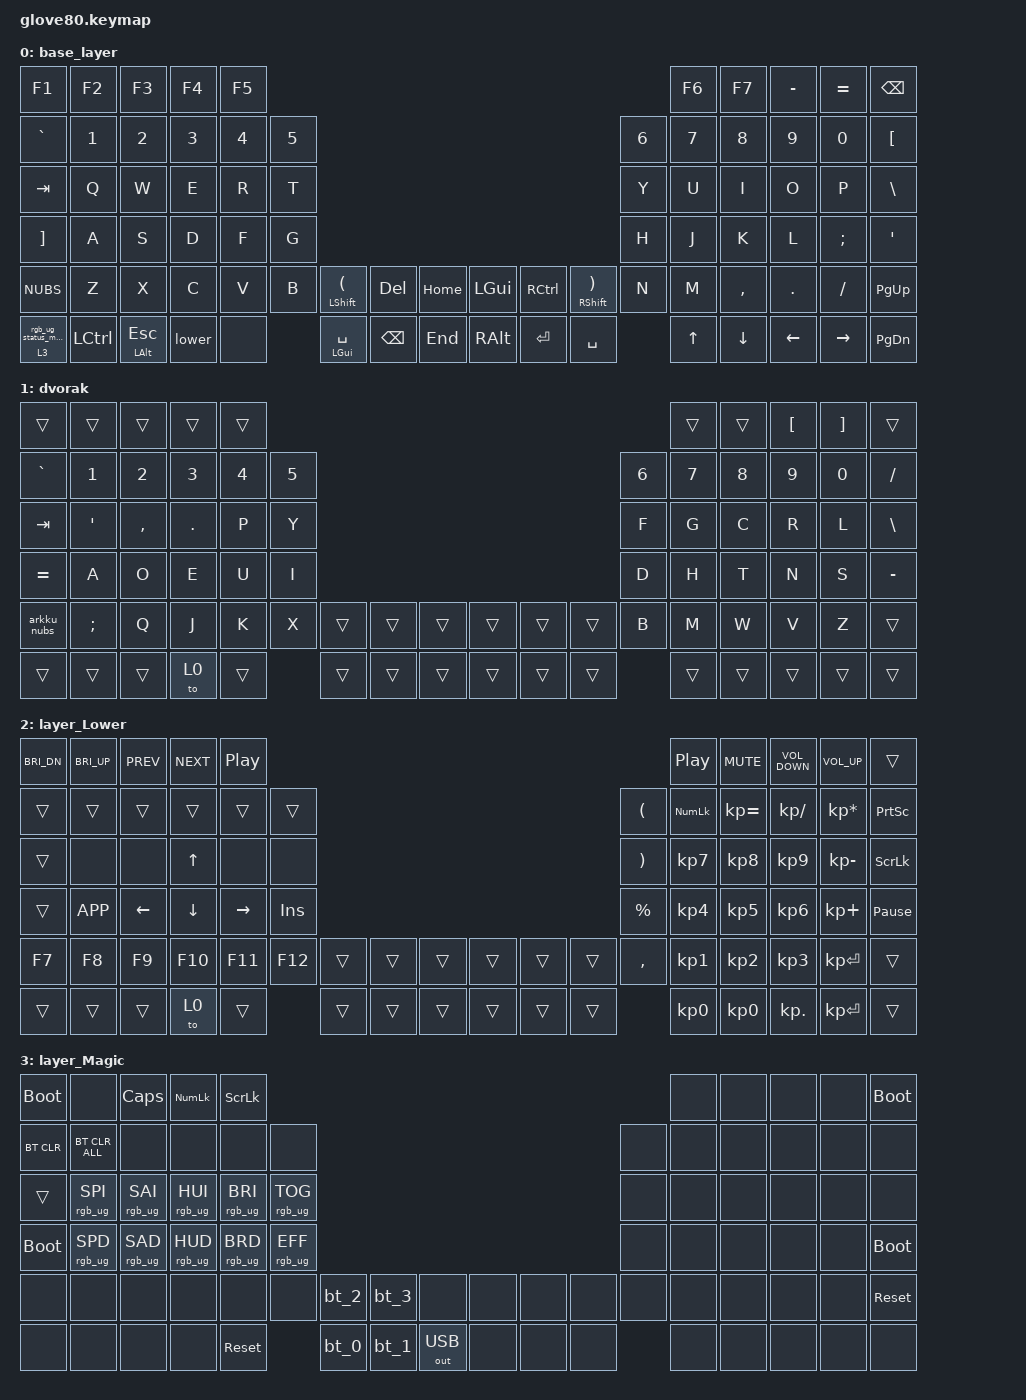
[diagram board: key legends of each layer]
/*
 * Copyright (c) 2020 The ZMK Contributors
 * Copyright (c) 2022 Innaworks Development Limited, trading as MoErgo
 *
 * SPDX-License-Identifier: MIT
 */
/* THIS FILE WAS GENERATED BY GLOVE80 LAYOUT EDITOR
 *
 * This file was generated automatically. You may or may not want to
 * edit it directly.
 */
/* Include all behaviour includes needed by system behaviors/macros */
/* Include behaviour includes needed by key binds - automatically generated */

#include <behaviors.dtsi>
#include <dt-bindings/zmk/bt.h>
#include <dt-bindings/zmk/keys.h>
#include <dt-bindings/zmk/outputs.h>
#include <dt-bindings/zmk/rgb.h>

/ {
    /* Glove80 system behavior & macros */

    behaviors {
        // For the "layer" key, it'd nice to be able to use it as either a shift or a toggle.
        // Configure it as a tap dance, so the first tap (or hold) is a &mo and the second tap is a &to

        lower: tap_dance_0 {
            compatible = "zmk,behavior-tap-dance";
            label = "LAYER_TAP_DANCE";
            #binding-cells = <0>;
            tapping-term-ms = <200>;
            bindings = <&mo 2>, <&to 2>, <&to 1>;
        };

        magic: magic_hold_tap {
            compatible = "zmk,behavior-hold-tap";
            label = "MAGIC_HOLD_TAP";
            #binding-cells = <2>;
            flavor = "tap-preferred";
            tapping-term-ms = <200>;
            bindings = <&mo>, <&rgb_ug_status_macro>;
        };

        arkku_nubs: arkku_nubs {
            compatible = "zmk,behavior-mod-morph";
            #binding-cells = <0>;
            bindings = <&kp RA(Q)>, <&kp RA(P)>; // AltGr+Q for ä, AltGr+P for ö
            mods = <(MOD_LSFT|MOD_RSFT)>; // Triggers the second binding when shift is held
        };
    };

    macros {
        rgb_ug_status_macro: rgb_ug_status_macro_0 {
            label = "RGB_UG_STATUS";
            compatible = "zmk,behavior-macro";
            #binding-cells = <0>;
            bindings = <&rgb_ug RGB_STATUS>;
        };

        bt_0: bt_profile_macro_0 {
            label = "BT_0";
            compatible = "zmk,behavior-macro";
            #binding-cells = <0>;
            bindings = <&out OUT_BLE &bt BT_SEL 0>;
        };

        bt_1: bt_profile_macro_1 {
            label = "BT_1";
            compatible = "zmk,behavior-macro";
            #binding-cells = <0>;
            bindings = <&out OUT_BLE &bt BT_SEL 1>;
        };

        bt_2: bt_profile_macro_2 {
            label = "BT_2";
            compatible = "zmk,behavior-macro";
            #binding-cells = <0>;
            bindings = <&out OUT_BLE &bt BT_SEL 2>;
        };

        bt_3: bt_profile_macro_3 {
            label = "BT_3";
            compatible = "zmk,behavior-macro";
            #binding-cells = <0>;
            bindings = <&out OUT_BLE &bt BT_SEL 3>;
        };
    };

    /* Custom Defined Behaviors */
    /* Automatically generated keymap */

    keymap {
        compatible = "zmk,keymap";

        base_layer {
            bindings = <
&kp F1             &kp F2     &kp F3               &kp F4  &kp F5                                                                                                                                    &kp F6  &kp F7     &kp MINUS       &kp EQUAL        &kp BACKSPACE
&kp GRAVE          &kp N1     &kp N2               &kp N3  &kp N4  &kp N5                                                                                                                    &kp N6  &kp N7  &kp N8     &kp N9          &kp N0           &kp LEFT_BRACKET
&kp TAB            &kp Q      &kp W                &kp E   &kp R   &kp T                                                                                                                     &kp Y   &kp U   &kp I      &kp O           &kp P            &kp BSLH
&kp RIGHT_BRACKET  &kp A      &kp S                &kp D   &kp F   &kp G                                                                                                                     &kp H   &kp J   &kp K      &kp L           &kp SEMI         &kp SQT
&kp NUBS           &kp Z      &kp X                &kp C   &kp V   &kp B   &mt LEFT_SHIFT LEFT_PARENTHESIS  &kp DELETE     &kp HOME  &kp LGUI  &kp RCTRL  &mt RIGHT_SHIFT RIGHT_PARENTHESIS  &kp N   &kp M   &kp COMMA  &kp DOT         &kp FSLH         &kp PG_UP
&magic 3 0         &kp LCTRL  &mt LEFT_ALT ESCAPE  &lower  &none           &mt LGUI SPACE                   &kp BACKSPACE  &kp END   &kp RALT  &kp RET    &kp SPACE                                  &kp UP  &kp DOWN   &kp LEFT_ARROW  &kp RIGHT_ARROW  &kp PG_DN
            >;
        };

        dvorak {
            bindings = <
&trans            &trans    &trans     &trans   &trans                                                                  &trans  &trans  &kp LBKT  &kp RIGHT_BRACKET  &trans
&kp GRAVE         &kp N1    &kp N2     &kp N3   &kp N4  &kp N5                                                  &kp N6  &kp N7  &kp N8  &kp N9    &kp N0             &kp FSLH
&kp TAB           &kp SQT   &kp COMMA  &kp DOT  &kp P   &kp Y                                                   &kp F   &kp G   &kp C   &kp R     &kp L              &kp BSLH
&kp EQUAL         &kp A     &kp O      &kp E    &kp U   &kp I                                                   &kp D   &kp H   &kp T   &kp N     &kp S              &kp MINUS
&arkku_nubs       &kp SEMI  &kp Q      &kp J    &kp K   &kp X   &trans  &trans  &trans  &trans  &trans  &trans  &kp B   &kp M   &kp W   &kp V     &kp Z              &trans
&trans            &trans    &trans     &to 0    &trans          &trans  &trans  &trans  &trans  &trans  &trans          &trans  &trans  &trans    &trans             &trans
            >;
        };

        layer_Lower {
            bindings = <
&kp C_BRI_DN  &kp C_BRI_UP  &kp C_PREV      &kp C_NEXT      &kp C_PP                                                                                         &kp C_PLAY_PAUSE  &kp C_MUTE    &kp C_VOLUME_DOWN  &kp C_VOLUME_UP  &trans
&trans        &trans        &trans          &trans          &trans           &trans                                                   &kp LEFT_PARENTHESIS   &kp KP_NUM        &kp KP_EQUAL  &kp KP_SLASH       &kp KP_MULTIPLY  &kp PRINTSCREEN
&trans        &none         &none           &kp UP_ARROW    &none            &none                                                    &kp RIGHT_PARENTHESIS  &kp KP_N7         &kp KP_N8     &kp KP_N9          &kp KP_MINUS     &kp SCROLLLOCK
&trans        &kp K_APP     &kp LEFT_ARROW  &kp DOWN_ARROW  &kp RIGHT_ARROW  &kp INS                                                  &kp PERCENT            &kp KP_N4         &kp KP_N5     &kp KP_N6          &kp KP_PLUS      &kp PAUSE_BREAK
&kp F7        &kp F8        &kp F9          &kp F10         &kp F11          &kp F12  &trans  &trans  &trans  &trans  &trans  &trans  &kp COMMA              &kp KP_N1         &kp KP_N2     &kp KP_N3          &kp KP_ENTER     &trans
&trans        &trans        &trans          &to 0           &trans                    &trans  &trans  &trans  &trans  &trans  &trans                         &kp KP_N0         &kp KP_N0     &kp KP_DOT         &kp KP_ENTER     &trans
            >;
        };

        layer_Magic {
            bindings = <
&bootloader  &none            &kp CAPSLOCK     &kp KP_NUMLOCK   &kp SCROLLLOCK                                                                            &none  &none  &none  &none  &bootloader
&bt BT_CLR   &bt BT_CLR_ALL   &none            &none            &none            &none                                                             &none  &none  &none  &none  &none  &none
&trans       &rgb_ug RGB_SPI  &rgb_ug RGB_SAI  &rgb_ug RGB_HUI  &rgb_ug RGB_BRI  &rgb_ug RGB_TOG                                                   &none  &none  &none  &none  &none  &none
&bootloader  &rgb_ug RGB_SPD  &rgb_ug RGB_SAD  &rgb_ug RGB_HUD  &rgb_ug RGB_BRD  &rgb_ug RGB_EFF                                                   &none  &none  &none  &none  &none  &bootloader
&none        &none            &none            &none            &none            &none            &bt_2  &bt_3  &none         &none  &none  &none  &none  &none  &none  &none  &none  &sys_reset
&none        &none            &none            &none            &sys_reset                        &bt_0  &bt_1  &out OUT_USB  &none  &none  &none         &none  &none  &none  &none  &none
            >;
        };
    };
};
